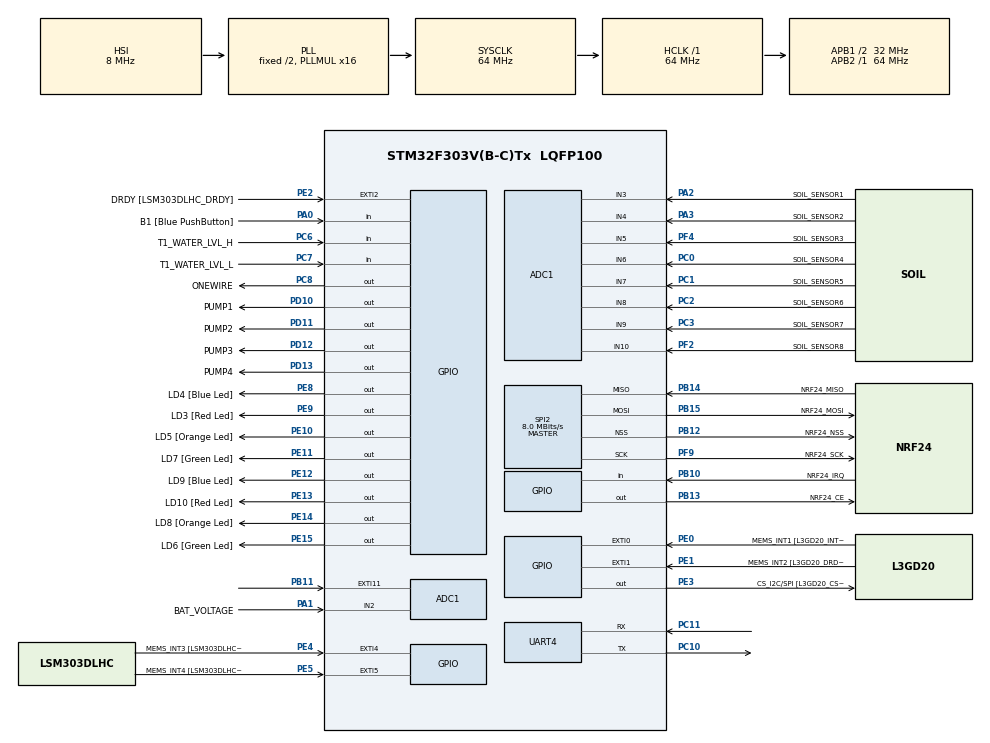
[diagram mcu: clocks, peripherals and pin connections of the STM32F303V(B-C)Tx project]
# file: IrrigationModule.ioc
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ADC1.Channel-0\#ChannelRegularConversion=ADC_CHANNEL_2
ADC1.ContinuousConvMode=ENABLE
ADC1.NbrOfConversionFlag=1
ADC1.Offset-0\#ChannelRegularConversion=0
ADC1.OffsetNumber-0\#ChannelRegularConversion=ADC_OFFSET_NONE
ADC1.Rank-0\#ChannelRegularConversion=1
ADC1.SamplingTime-0\#ChannelRegularConversion=ADC_SAMPLETIME_1CYCLE_5
ADC1.master=1
Dma.ADC1.1.Direction=DMA_PERIPH_TO_MEMORY
Dma.ADC1.1.Instance=DMA1_Channel1
Dma.ADC1.1.MemDataAlignment=DMA_MDATAALIGN_HALFWORD
Dma.ADC1.1.MemInc=DMA_MINC_ENABLE
Dma.ADC1.1.Mode=DMA_CIRCULAR
Dma.ADC1.1.PeriphDataAlignment=DMA_PDATAALIGN_HALFWORD
Dma.ADC1.1.PeriphInc=DMA_PINC_DISABLE
Dma.ADC1.1.Priority=DMA_PRIORITY_HIGH
Dma.Request0=UART4_TX
Dma.Request1=ADC1
Dma.UART4_TX.0.Direction=DMA_MEMORY_TO_PERIPH
Dma.UART4_TX.0.Instance=DMA2_Channel5
Dma.UART4_TX.0.MemDataAlignment=DMA_MDATAALIGN_BYTE
Dma.UART4_TX.0.MemInc=DMA_MINC_ENABLE
Dma.UART4_TX.0.Mode=DMA_NORMAL
Dma.UART4_TX.0.PeriphDataAlignment=DMA_PDATAALIGN_BYTE
Dma.UART4_TX.0.PeriphInc=DMA_PINC_DISABLE
Dma.UART4_TX.0.Priority=DMA_PRIORITY_LOW
FREERTOS.HEAP_NUMBER=1
FREERTOS.INCLUDE_eTaskGetState=1
FREERTOS.INCLUDE_vTaskDelayUntil=1
FREERTOS.INCLUDE_xQueueGetMutexHolder=1
FREERTOS.INCLUDE_xSemaphoreGetMutexHolder=1
FREERTOS.INCLUDE_xTaskGetCurrentTaskHandle=1
FREERTOS.INCLUDE_xTaskGetHandle=1
FREERTOS.Tasks01=defaultTask,0,128,StartDefaultTask,Default,NULL
FREERTOS.configUSE_COUNTING_SEMAPHORES=1
Mcu.Family=STM32F3
Mcu.Name=STM32F303V(B-C)Tx
Mcu.Package=LQFP100
NVIC.DMA1_Channel1_IRQn=true\:5\:0\:false\:false\:true\:true
NVIC.DMA2_Channel5_IRQn=true\:5\:0\:false\:false\:true\:true
NVIC.PriorityGroup=NVIC_PRIORITYGROUP_4
NVIC.TIM6_DAC_IRQn=true\:0\:0\:false\:false\:true\:false
NVIC.TimeBase=TIM6_DAC_IRQn
NVIC.TimeBaseIP=TIM6
PA0.GPIO_Label=B1 [Blue PushButton]
PA0.GPIO_Mode=GPIO_MODE_INPUT
PA0.GPIO_PuPd=GPIO_NOPULL
PA0.Signal=GPIO_Input
PA1.GPIO_Label=BAT_VOLTAGE
PA1.Mode=IN2-Single-Ended
PA1.Signal=ADC1_IN2
PA11.GPIO_Label=DM
PA11.Signal=USB_DM
PA12.GPIO_Label=DP
PA12.Signal=USB_DP
PA13.GPIO_Label=SWDIO
PA13.Signal=SYS_JTMS-SWDIO
PA14.GPIO_Label=SWCLK
PA14.Signal=SYS_JTCK-SWCLK
PA2.GPIO_Label=SOIL_SENSOR1
PA2.Mode=IN3-Single-Ended
PA2.Signal=ADC1_IN3
PA3.GPIO_Label=SOIL_SENSOR2
PA3.Mode=IN4-Single-Ended
PA3.Signal=ADC1_IN4
PA5.GPIO_Label=SPI1_SCK [L3GD20_SCL/SPC]
PA5.GPIO_Mode=GPIO_MODE_AF_PP
PA5.GPIO_PuPd=GPIO_NOPULL
PA5.GPIO_Speed=GPIO_SPEED_FREQ_LOW
PA5.Signal=SPI1_SCK
PA6.GPIO_Label=SPI1_MISO [L3GD20_SA0/SDO]
PA6.GPIO_Mode=GPIO_MODE_AF_PP
PA6.GPIO_PuPd=GPIO_NOPULL
PA6.GPIO_Speed=GPIO_SPEED_FREQ_LOW
PA6.Signal=SPI1_MISO
PA7.GPIO_Label=SPI1_MISO [L3GD20_SDA/SDI/SDO]
PA7.GPIO_Mode=GPIO_MODE_AF_PP
PA7.GPIO_PuPd=GPIO_NOPULL
PA7.GPIO_Speed=GPIO_SPEED_FREQ_LOW
PA7.Signal=SPI1_MOSI
PB10.GPIO_Label=NRF24_IRQ
PB10.Signal=GPIO_Input
PB11.Signal=GPXTI11
PB12.GPIO_Label=NRF24_NSS
PB12.Mode=NSS_Signal_Hard_Output
PB12.Signal=SPI2_NSS
PB13.GPIO_Label=NRF24_CE
PB13.Signal=GPIO_Output
PB14.GPIO_Label=NRF24_MISO
PB14.Mode=Full_Duplex_Master
PB14.Signal=SPI2_MISO
PB15.GPIO_Label=NRF24_MOSI
PB15.Mode=Full_Duplex_Master
PB15.Signal=SPI2_MOSI
PB3.GPIO_Label=SWO
PB3.Signal=SYS_JTDO-TRACESWO
PB6.GPIO_FM6=__NULL
PB6.GPIO_Label=I2C1_SCL [LSM303DLHC_SCL]
PB6.GPIO_Mode=GPIO_MODE_AF_OD
PB6.GPIO_PuPd=GPIO_NOPULL
PB6.GPIO_Speed=GPIO_SPEED_FREQ_LOW
PB6.Signal=I2C1_SCL
PB7.GPIO_FM7=__NULL
PB7.GPIO_Label=I2C1_SDA [LSM303DLHC_SDA]
PB7.GPIO_Mode=GPIO_MODE_AF_OD
PB7.GPIO_PuPd=GPIO_NOPULL
PB7.GPIO_Speed=GPIO_SPEED_FREQ_LOW
PB7.Signal=I2C1_SDA
PC0.GPIO_Label=SOIL_SENSOR4
PC0.Signal=ADCx_IN6
PC1.GPIO_Label=SOIL_SENSOR5
PC1.Signal=ADCx_IN7
PC10.Mode=Asynchronous
PC10.Signal=UART4_TX
PC11.Mode=Asynchronous
PC11.Signal=UART4_RX
PC14-OSC32_IN.GPIO_Label=OSC32_IN
PC14-OSC32_IN.Signal=RCC_OSC32_IN
PC15-OSC32_OUT.GPIO_Label=OSC32_OUT
PC15-OSC32_OUT.Signal=RCC_OSC32_OUT
PC2.GPIO_Label=SOIL_SENSOR6
PC2.Signal=ADCx_IN8
PC3.GPIO_Label=SOIL_SENSOR7
PC3.Signal=ADCx_IN9
PC6.GPIO_Label=T1_WATER_LVL_H
PC6.Signal=GPIO_Input
PC7.GPIO_Label=T1_WATER_LVL_L
PC7.Signal=GPIO_Input
PC8.GPIO_Label=ONEWIRE
PC8.GPIO_PuPd=GPIO_PULLUP
PC8.GPIO_Speed=GPIO_SPEED_FREQ_HIGH
PC8.Signal=GPIO_Output
PD10.GPIO_Label=PUMP1
PD10.Signal=GPIO_Output
PD11.GPIO_Label=PUMP2
PD11.Signal=GPIO_Output
PD12.GPIO_Label=PUMP3
PD12.Signal=GPIO_Output
PD13.GPIO_Label=PUMP4
PD13.Signal=GPIO_Output
PE0.GPIO_Label=MEMS_INT1 [L3GD20_INT1]
PE0.GPIO_ModeDefaultEXTI=GPIO_MODE_EVT_RISING
PE0.GPIO_PuPd=GPIO_NOPULL
PE0.Signal=GPXTI0
PE1.GPIO_Label=MEMS_INT2 [L3GD20_DRDY/INT2]
PE1.GPIO_ModeDefaultEXTI=GPIO_MODE_EVT_RISING
PE1.GPIO_PuPd=GPIO_NOPULL
PE1.Signal=GPXTI1
PE10.GPIO_Label=LD5 [Orange Led]
PE10.GPIO_ModeDefaultOutputPP=GPIO_MODE_OUTPUT_PP
PE10.GPIO_PuPd=GPIO_NOPULL
PE10.GPIO_Speed=GPIO_SPEED_FREQ_LOW
PE10.Signal=GPIO_Output
PE11.GPIO_Label=LD7 [Green Led]
PE11.GPIO_ModeDefaultOutputPP=GPIO_MODE_OUTPUT_PP
PE11.GPIO_PuPd=GPIO_NOPULL
PE11.GPIO_Speed=GPIO_SPEED_FREQ_LOW
PE11.Signal=GPIO_Output
PE12.GPIO_Label=LD9 [Blue Led]
PE12.GPIO_ModeDefaultOutputPP=GPIO_MODE_OUTPUT_PP
PE12.GPIO_PuPd=GPIO_NOPULL
PE12.GPIO_Speed=GPIO_SPEED_FREQ_LOW
PE12.Signal=GPIO_Output
PE13.GPIO_Label=LD10 [Red Led]
PE13.GPIO_ModeDefaultOutputPP=GPIO_MODE_OUTPUT_PP
PE13.GPIO_PuPd=GPIO_NOPULL
PE13.GPIO_Speed=GPIO_SPEED_FREQ_LOW
PE13.Signal=GPIO_Output
PE14.GPIO_Label=LD8 [Orange Led]
PE14.GPIO_ModeDefaultOutputPP=GPIO_MODE_OUTPUT_PP
PE14.GPIO_PuPd=GPIO_NOPULL
PE14.GPIO_Speed=GPIO_SPEED_FREQ_LOW
PE14.Signal=GPIO_Output
PE15.GPIO_Label=LD6 [Green Led]
PE15.GPIO_ModeDefaultOutputPP=GPIO_MODE_OUTPUT_PP
PE15.GPIO_PuPd=GPIO_NOPULL
PE15.GPIO_Speed=GPIO_SPEED_FREQ_LOW
PE15.Signal=GPIO_Output
PE2.GPIO_Label=DRDY [LSM303DLHC_DRDY]
PE2.GPIO_ModeDefaultEXTI=GPIO_MODE_EVT_RISING
PE2.GPIO_PuPd=GPIO_NOPULL
PE2.Signal=GPXTI2
PE3.GPIO_Label=CS_I2C/SPI [L3GD20_CS_I2C/SPI]
PE3.GPIO_ModeDefaultOutputPP=GPIO_MODE_OUTPUT_PP
PE3.GPIO_PuPd=GPIO_NOPULL
PE3.GPIO_Speed=GPIO_SPEED_FREQ_LOW
PE3.Signal=GPIO_Output
PE4.GPIO_Label=MEMS_INT3 [LSM303DLHC_INT1]
PE4.GPIO_ModeDefaultEXTI=GPIO_MODE_EVT_RISING
PE4.GPIO_PuPd=GPIO_NOPULL
PE4.Signal=GPXTI4
PE5.GPIO_Label=MEMS_INT4 [LSM303DLHC_INT2]
PE5.GPIO_ModeDefaultEXTI=GPIO_MODE_EVT_RISING
PE5.GPIO_PuPd=GPIO_NOPULL
PE5.Signal=GPXTI5
PE8.GPIO_Label=LD4 [Blue Led]
PE8.GPIO_ModeDefaultOutputPP=GPIO_MODE_OUTPUT_PP
PE8.GPIO_PuPd=GPIO_NOPULL
PE8.GPIO_Speed=GPIO_SPEED_FREQ_LOW
PE8.Signal=GPIO_Output
PE9.GPIO_Label=LD3 [Red Led]
PE9.GPIO_ModeDefaultOutputPP=GPIO_MODE_OUTPUT_PP
PE9.GPIO_PuPd=GPIO_NOPULL
PE9.GPIO_Speed=GPIO_SPEED_FREQ_LOW
PE9.Signal=GPIO_Output
PF0-OSC_IN.GPIO_Label=OSC_IN
PF0-OSC_IN.Signal=RCC_OSC_IN
PF1-OSC_OUT.GPIO_Label=OSC_OUT
PF1-OSC_OUT.Signal=RCC_OSC_OUT
PF2.GPIO_Label=SOIL_SENSOR8
PF2.Signal=ADCx_IN10
PF4.GPIO_Label=SOIL_SENSOR3
PF4.Mode=IN5-Single-Ended
PF4.Signal=ADC1_IN5
PF9.GPIO_Label=NRF24_SCK
PF9.Mode=Full_Duplex_Master
PF9.Signal=SPI2_SCK
ProjectManager.HeapSize=0x200
ProjectManager.StackSize=0x400
ProjectManager.TargetToolchain=TrueSTUDIO
RCC.AHBFreq_Value=64000000
RCC.APB1CLKDivider=RCC_HCLK_DIV2
RCC.APB1Freq_Value=32000000
RCC.APB1TimFreq_Value=64000000
RCC.APB2Freq_Value=64000000
RCC.APB2TimFreq_Value=64000000
RCC.CortexFreq_Value=64000000
RCC.HCLKFreq_Value=64000000
RCC.HSE_VALUE=8000000
RCC.HSI_VALUE=8000000
RCC.LSE_VALUE=32768
RCC.PLLMUL=RCC_PLL_MUL16
RCC.SYSCLKFreq_VALUE=64000000
RCC.SYSCLKSourceVirtual=RCC_SYSCLKSOURCE_PLLCLK
RCC.USBFreq_Value=64000000
SH.ADCx_IN10.0=ADC1_IN10,IN10-Single-Ended
SH.ADCx_IN6.0=ADC1_IN6,IN6-Single-Ended
SH.ADCx_IN7.0=ADC1_IN7,IN7-Single-Ended
SH.ADCx_IN8.0=ADC1_IN8,IN8-Single-Ended
SH.ADCx_IN9.0=ADC1_IN9,IN9-Single-Ended
SPI2.BaudRatePrescaler=SPI_BAUDRATEPRESCALER_4
SPI2.CalculateBaudRate=8.0 MBits/s
SPI2.DataSize=SPI_DATASIZE_8BIT
SPI2.Direction=SPI_DIRECTION_2LINES
SPI2.Mode=SPI_MODE_MASTER
SPI2.VirtualNSS=VM_NSSHARD
SPI2.VirtualType=VM_MASTER
TIM7.Period=65535
VP_FREERTOS_VS_ENABLE.Mode=Enabled
VP_IWDG_VS_IWDG.Mode=IWDG_Activate
VP_SYS_VS_tim6.Mode=TIM6
VP_TIM7_VS_ClockSourceINT.Mode=Enable_Timer
board=STM32F3DISCOVERY

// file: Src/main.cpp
/**
  ******************************************************************************
  * File Name          : main.c
  * Description        : Main program body
  ******************************************************************************
  * This notice applies to any and all portions of this file
  * that are not between comment pairs USER CODE BEGIN and
  * USER CODE END. Other portions of this file, whether
  * inserted by the user or by software development tools
  * are owned by their respective copyright owners.
  *
  * Copyright (c) 2019 STMicroelectronics International N.V.
  * All rights reserved.
  *
  * Redistribution and use in source and binary forms, with or without
  * modification, are permitted, provided that the following conditions are met:
  *
  * 1. Redistribution of source code must retain the above copyright notice,
  *    this list of conditions and the following disclaimer.
  * 2. Redistributions in binary form must reproduce the above copyright notice,
  *    this list of conditions and the following disclaimer in the documentation
  *    and/or other materials provided with the distribution.
  * 3. Neither the name of STMicroelectronics nor the names of other
  *    contributors to this software may be used to endorse or promote products
  *    derived from this software without specific written permission.
  * 4. This software, including modifications and/or derivative works of this
  *    software, must execute solely and exclusively on microcontroller or
  *    microprocessor devices manufactured by or for STMicroelectronics.
  * 5. Redistribution and use of this software other than as permitted under
  *    this license is void and will automatically terminate your rights under
  *    this license.
  *
  * THIS SOFTWARE IS PROVIDED BY STMICROELECTRONICS AND CONTRIBUTORS "AS IS"
  * AND ANY EXPRESS, IMPLIED OR STATUTORY WARRANTIES, INCLUDING, BUT NOT
  * LIMITED TO, THE IMPLIED WARRANTIES OF MERCHANTABILITY, FITNESS FOR A
  * PARTICULAR PURPOSE AND NON-INFRINGEMENT OF THIRD PARTY INTELLECTUAL PROPERTY
  * RIGHTS ARE DISCLAIMED TO THE FULLEST EXTENT PERMITTED BY LAW. IN NO EVENT
  * SHALL STMICROELECTRONICS OR CONTRIBUTORS BE LIABLE FOR ANY DIRECT, INDIRECT,
  * INCIDENTAL, SPECIAL, EXEMPLARY, OR CONSEQUENTIAL DAMAGES (INCLUDING, BUT NOT
  * LIMITED TO, PROCUREMENT OF SUBSTITUTE GOODS OR SERVICES; LOSS OF USE, DATA,
  * OR PROFITS; OR BUSINESS INTERRUPTION) HOWEVER CAUSED AND ON ANY THEORY OF
  * LIABILITY, WHETHER IN CONTRACT, STRICT LIABILITY, OR TORT (INCLUDING
  * NEGLIGENCE OR OTHERWISE) ARISING IN ANY WAY OUT OF THE USE OF THIS SOFTWARE,
  * EVEN IF ADVISED OF THE POSSIBILITY OF SUCH DAMAGE.
  *
  ******************************************************************************
  */
#include <communication_base.h>
#include "main.h"
#include "stm32f3xx_hal.h"
#include "cmsis_os.h"
#include "adc.h"
#include "dma.h"
#include "spi.h"
#include "tim.h"
#include "usart.h"
#include "gpio.h"
#include "iwdg.h"
#include "freeRTOSTasks.h"
#include "utilities.h"
#include "plants.h"
#include "msg_definitions_irrigation.h"
#include "power.h"

/* USER CODE BEGIN Includes */
SemaphoreHandle_t xUserButtonSemaphore = NULL;
SemaphoreHandle_t xADCReadingsReadySemaphore = NULL;
xQueueHandle adcValuesQueue;
xQueueHandle tanksStatusQueue;
xQueueHandle pumpsStatusQueue;
xQueueHandle sectorsStatusQueue;
xQueueHandle plantsHealthQueue;
xQueueHandle batteryStatusQueue;
xQueueHandle sysStatusQueue;
xQueueHandle extCommandsQueue;
xQueueHandle confirmationsQueue;
xQueueHandle serviceQueue;
xQueueHandle singleValsQueue;

/* USER CODE END Includes */

/* USER CODE BEGIN PV */
/* Private variables ---------------------------------------------------------*/

/* USER CODE END PV */

void SystemClock_Config(void);

/* USER CODE BEGIN PFP */
/* Private function prototypes -----------------------------------------------*/

/* USER CODE END PFP */

int main(void)
{

  /* MCU Configuration----------------------------------------------------------*/

  /* Reset of all peripherals, Initializes the Flash interface and the Systick. */
  HAL_Init();

  /* Configure the system clock */
  SystemClock_Config();

  /* Initialize all configured peripherals */
  MX_GPIO_Init();
  MX_DMA_Init();
  MX_ADC1_Init();
  MX_UART4_Init();
  MX_SPI2_Init();
  MX_TIM7_Init();
  MX_IWDG_Init();

  size_t freeheap = xPortGetFreeHeapSize();

  /* USER CODE BEGIN 2 */
  vSemaphoreCreateBinary(xUserButtonSemaphore);
  vSemaphoreCreateBinary(xADCReadingsReadySemaphore);
  adcValuesQueue = xQueueCreate(ADCVALUES_BUFFER_LENGTH, sizeof( uint16_t ) );
  tanksStatusQueue = xQueueCreate(TANKSSTATUS_BUFFER_LENGTH, sizeof( tankstatus_s ) );
  pumpsStatusQueue = xQueueCreate(PUMPSSTATUS_BUFFER_LENGTH, sizeof( uint32_t ) );
  sectorsStatusQueue = xQueueCreate(SECTORSSTATUS_BUFFER_LENGTH, sizeof( sectorstatus_s ) );
  plantsHealthQueue = xQueueCreate(PLANTSHEALTH_BUFFER_LENGTH, sizeof( plantstatus_s ) );
  sysStatusQueue = xQueueCreate(SYSSTATUS_BUFFER_LENGTH, sizeof( uint32_t ) );
  extCommandsQueue = xQueueCreate(EXTCMDS_BUFFER_LENGTH, sizeof( cmd_s) );
  confirmationsQueue = xQueueCreate(CONFIRM_BUFFER_LENGTH, sizeof( confirmation_s) );
  serviceQueue = xQueueCreate(SERVICE_BUFFER_LENGTH, sizeof( servicecode_s) );
  singleValsQueue = xQueueCreate(SINGLEVALUES_BUFFER_LENGTH, sizeof( singlevalue_s) );
  batteryStatusQueue = xQueueCreate(BATTERY_BUFFER_LENGTH, sizeof( batterystatus_s) );
  /* USER CODE END 2 */

  /* Call init function for freertos objects (in freertos.c) */
  xTaskCreate( vIrrigationControlTask, ( const char * ) "Irrigation Control", configMINIMAL_STACK_SIZE+1792, NULL, tskIDLE_PRIORITY+5, NULL );
  xTaskCreate( vWirelessCommTask, ( const char * ) "Wireless Communication", configMINIMAL_STACK_SIZE+512, NULL, tskIDLE_PRIORITY+6, NULL );
  xTaskCreate( vStatusNotifyTask, ( const char * ) "Status Notify", configMINIMAL_STACK_SIZE, NULL, tskIDLE_PRIORITY+2, NULL );
  xTaskCreate( vLEDFlashTask, ( const char * ) "LED", configMINIMAL_STACK_SIZE, NULL, tskIDLE_PRIORITY, NULL );
  xTaskCreate( vUserButtonCheckTask, ( const char * ) "User Button", configMINIMAL_STACK_SIZE, NULL, tskIDLE_PRIORITY+7, NULL );
  xTaskCreate( vADCReadTask, ( const char * ) "ADC", configMINIMAL_STACK_SIZE, NULL, tskIDLE_PRIORITY+4, NULL );

  freeheap = xPortGetFreeHeapSize();

  /* Start scheduler */
  osKernelStart();

  /* We should never get here as control is now taken by the scheduler */

  /* Infinite loop */
  while (1)
  {

  }

}

/** System Clock Configuration
*/
void SystemClock_Config(void)
{

  RCC_OscInitTypeDef RCC_OscInitStruct;
  RCC_ClkInitTypeDef RCC_ClkInitStruct;
  RCC_PeriphCLKInitTypeDef PeriphClkInit;

    /**Initializes the CPU, AHB and APB busses clocks
    */
  RCC_OscInitStruct.OscillatorType = RCC_OSCILLATORTYPE_HSI|RCC_OSCILLATORTYPE_LSI;
  RCC_OscInitStruct.HSIState = RCC_HSI_ON;
  RCC_OscInitStruct.HSICalibrationValue = 16;
  RCC_OscInitStruct.LSIState = RCC_LSI_ON;
  RCC_OscInitStruct.PLL.PLLState = RCC_PLL_ON;
  RCC_OscInitStruct.PLL.PLLSource = RCC_PLLSOURCE_HSI;
  RCC_OscInitStruct.PLL.PLLMUL = RCC_PLL_MUL16;
  if (HAL_RCC_OscConfig(&RCC_OscInitStruct) != HAL_OK)
  {
    //_Error_Handler(__FILE__, __LINE__);
  }

    /**Initializes the CPU, AHB and APB busses clocks
    */
  RCC_ClkInitStruct.ClockType = RCC_CLOCKTYPE_HCLK|RCC_CLOCKTYPE_SYSCLK
                              |RCC_CLOCKTYPE_PCLK1|RCC_CLOCKTYPE_PCLK2;
  RCC_ClkInitStruct.SYSCLKSource = RCC_SYSCLKSOURCE_PLLCLK;
  RCC_ClkInitStruct.AHBCLKDivider = RCC_SYSCLK_DIV1;
  RCC_ClkInitStruct.APB1CLKDivider = RCC_HCLK_DIV2;
  RCC_ClkInitStruct.APB2CLKDivider = RCC_HCLK_DIV1;

  if (HAL_RCC_ClockConfig(&RCC_ClkInitStruct, FLASH_LATENCY_2) != HAL_OK)
  {
    //_Error_Handler(__FILE__, __LINE__);
  }

  PeriphClkInit.PeriphClockSelection = RCC_PERIPHCLK_UART4|RCC_PERIPHCLK_ADC12;
  PeriphClkInit.Uart4ClockSelection = RCC_UART4CLKSOURCE_PCLK1;
  PeriphClkInit.Adc12ClockSelection = RCC_ADC12PLLCLK_DIV1;
  if (HAL_RCCEx_PeriphCLKConfig(&PeriphClkInit) != HAL_OK)
  {
    //_Error_Handler(__FILE__, __LINE__);
  }

    /**Configure the Systick interrupt time
    */
  HAL_SYSTICK_Config(HAL_RCC_GetHCLKFreq()/1000);

    /**Configure the Systick
    */
  HAL_SYSTICK_CLKSourceConfig(SYSTICK_CLKSOURCE_HCLK);

  /* SysTick_IRQn interrupt configuration */
  HAL_NVIC_SetPriority(SysTick_IRQn, 15, 0);
}

void HAL_TIM_PeriodElapsedCallback(TIM_HandleTypeDef *htim)
{
  if (htim->Instance == TIM6) {
    HAL_IncTick();
  }
}

//void _Error_Handler(char * file, int line)
//{
//  /* USER CODE BEGIN Error_Handler_Debug */
//  /* User can add his own implementation to report the HAL error return state */
//  while(1)
//  {
//  }
//  /* USER CODE END Error_Handler_Debug */
//}

/************************ (C) COPYRIGHT STMicroelectronics *****END OF FILE****/

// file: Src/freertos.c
/**
  ******************************************************************************
  * File Name          : freertos.c
  * Description        : Code for freertos applications
  ******************************************************************************
  * This notice applies to any and all portions of this file
  * that are not between comment pairs USER CODE BEGIN and
  * USER CODE END. Other portions of this file, whether
  * inserted by the user or by software development tools
  * are owned by their respective copyright owners.
  *
  * Copyright (c) 2019 STMicroelectronics International N.V.
  * All rights reserved.
  *
  * Redistribution and use in source and binary forms, with or without
  * modification, are permitted, provided that the following conditions are met:
  *
  * 1. Redistribution of source code must retain the above copyright notice,
  *    this list of conditions and the following disclaimer.
  * 2. Redistributions in binary form must reproduce the above copyright notice,
  *    this list of conditions and the following disclaimer in the documentation
  *    and/or other materials provided with the distribution.
  * 3. Neither the name of STMicroelectronics nor the names of other
  *    contributors to this software may be used to endorse or promote products
  *    derived from this software without specific written permission.
  * 4. This software, including modifications and/or derivative works of this
  *    software, must execute solely and exclusively on microcontroller or
  *    microprocessor devices manufactured by or for STMicroelectronics.
  * 5. Redistribution and use of this software other than as permitted under
  *    this license is void and will automatically terminate your rights under
  *    this license.
  *
  * THIS SOFTWARE IS PROVIDED BY STMICROELECTRONICS AND CONTRIBUTORS "AS IS"
  * AND ANY EXPRESS, IMPLIED OR STATUTORY WARRANTIES, INCLUDING, BUT NOT
  * LIMITED TO, THE IMPLIED WARRANTIES OF MERCHANTABILITY, FITNESS FOR A
  * PARTICULAR PURPOSE AND NON-INFRINGEMENT OF THIRD PARTY INTELLECTUAL PROPERTY
  * RIGHTS ARE DISCLAIMED TO THE FULLEST EXTENT PERMITTED BY LAW. IN NO EVENT
  * SHALL STMICROELECTRONICS OR CONTRIBUTORS BE LIABLE FOR ANY DIRECT, INDIRECT,
  * INCIDENTAL, SPECIAL, EXEMPLARY, OR CONSEQUENTIAL DAMAGES (INCLUDING, BUT NOT
  * LIMITED TO, PROCUREMENT OF SUBSTITUTE GOODS OR SERVICES; LOSS OF USE, DATA,
  * OR PROFITS; OR BUSINESS INTERRUPTION) HOWEVER CAUSED AND ON ANY THEORY OF
  * LIABILITY, WHETHER IN CONTRACT, STRICT LIABILITY, OR TORT (INCLUDING
  * NEGLIGENCE OR OTHERWISE) ARISING IN ANY WAY OUT OF THE USE OF THIS SOFTWARE,
  * EVEN IF ADVISED OF THE POSSIBILITY OF SUCH DAMAGE.
  *
  ******************************************************************************
  */

#include "FreeRTOS.h"
#include "task.h"
#include "cmsis_os.h"

osThreadId defaultTaskHandle;

void StartDefaultTask(void const * argument);

void MX_FREERTOS_Init(void); /* (MISRA C 2004 rule 8.1) */

/* Hook prototypes */

/* Init FreeRTOS */

void MX_FREERTOS_Init(void) {

  /* Create the thread(s) */
  /* definition and creation of defaultTask */
  osThreadDef(defaultTask, StartDefaultTask, osPriorityNormal, 0, 128);
  defaultTaskHandle = osThreadCreate(osThread(defaultTask), NULL);

}

/* StartDefaultTask function */
void StartDefaultTask(void const * argument)
{

  for(;;)
  {
    osDelay(1);
  }
}

/************************ (C) COPYRIGHT STMicroelectronics *****END OF FILE****/
